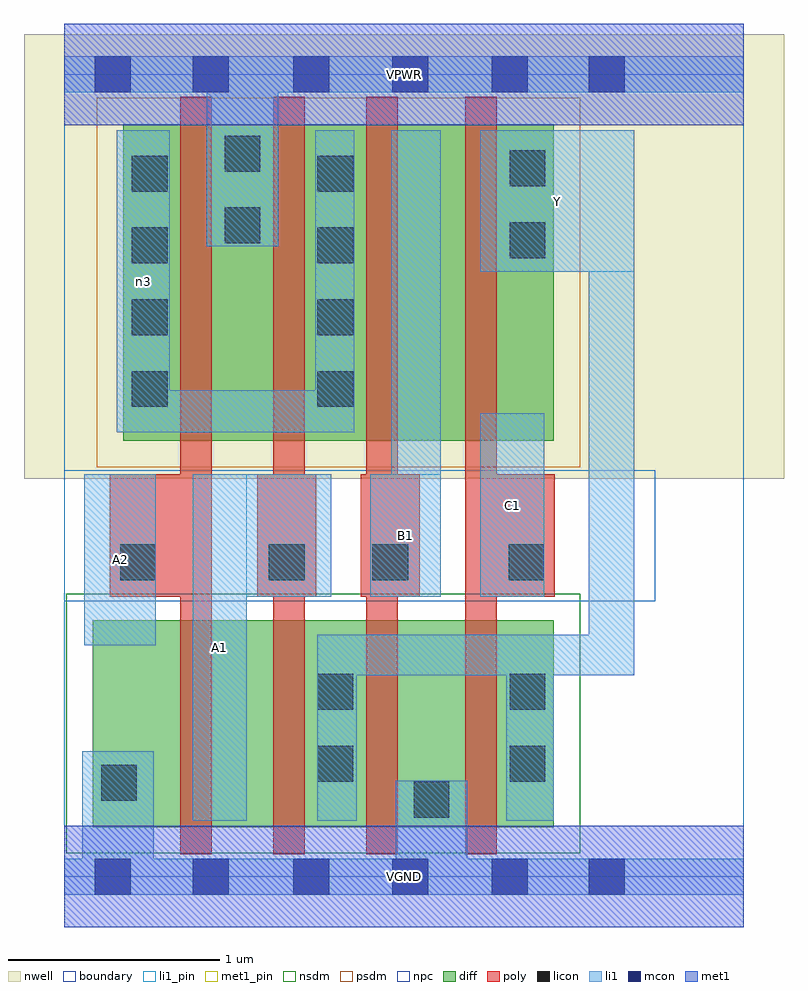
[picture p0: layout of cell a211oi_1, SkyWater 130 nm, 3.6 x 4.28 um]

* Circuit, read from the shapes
.subckt a211oi_1 A1 A2 B1 C1 VGND VPWR Y n3
XM1 n1 A2 VGND VSUBS sky130_fd_pr__nfet_01v8 w=0.98 l=0.15
XM2 Y A1 n1 VSUBS sky130_fd_pr__nfet_01v8 w=0.98 l=0.15
XM3 VGND B1 Y VSUBS sky130_fd_pr__nfet_01v8 w=0.98 l=0.15
XM4 Y C1 VGND VSUBS sky130_fd_pr__nfet_01v8 w=0.98 l=0.15
XM5 VPWR A2 n3 n2 sky130_fd_pr__pfet_01v8 w=1.5 l=0.15
XM6 n3 A1 VPWR n2 sky130_fd_pr__pfet_01v8 w=1.5 l=0.15
XM7 n4 B1 n3 n2 sky130_fd_pr__pfet_01v8 w=1.5 l=0.15
XM8 Y C1 n4 n2 sky130_fd_pr__pfet_01v8 w=1.5 l=0.15
.ends

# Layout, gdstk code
import gdstk
lib = gdstk.Library(unit=1e-6, precision=1e-09)
def R(c, l, rs):  # rectangles x0, y0, x1, y1
    for r in rs: c.add(gdstk.rectangle(r[:2], r[2:], *l))
def A(c, l, x, y, w, h, nx, ny, dx, dy):  # array of equal rectangles
    R(c, l, [(x+i*dx, y+j*dy, x+i*dx+w, y+j*dy+h) for i in range(nx) for j in range(ny)])
nwell = (64, 20)
diff = (65, 20)
poly = (66, 20)
licon = (66, 44)
li1_pin = (67, 16)
li1 = (67, 20)
mcon = (67, 44)
met1_pin = (68, 16)
met1 = (68, 20)
nsdm = (93, 44)
psdm = (94, 20)
npc = (95, 20)
boundary = (235, 4)

a211oi_1 = lib.new_cell('a211oi_1')
R(a211oi_1, nwell, [(-0.19,1.885,3.41,3.99), (0,1.885,3.22,3.99)])
R(a211oi_1, diff, [(0.135,0.235,2.32,1.215), (0.28,2.065,2.32,3.565)])
A(a211oi_1, poly, 0.55, 0.105, 0.15, 3.59, 3, 1, 0.44, 0)
R(a211oi_1, poly, [(1.9,0.105,2.05,3.695), (0.215,1.325,0.7,1.905), (0.915,1.325,1.195,1.905), (1.405,1.325,1.685,1.905), (1.9,1.325,2.325,1.905)])
A(a211oi_1, licon, 0.32, 2.225, 0.17, 0.17, 1, 4, 0, 0.34)
A(a211oi_1, licon, 1.2, 2.225, 0.17, 0.17, 1, 4, 0, 0.34)
R(a211oi_1, licon, [(1.655,0.28,1.825,0.45), (0.175,0.36,0.345,0.53), (1.2,0.45,1.37,0.62), (2.11,0.45,2.28,0.62), (1.2,0.79,1.37,0.96), (2.11,0.79,2.28,0.96), (0.265,1.405,0.435,1.575), (0.97,1.405,1.14,1.575), (1.46,1.405,1.63,1.575), (2.105,1.405,2.275,1.575), (2.11,2.93,2.28,3.1), (0.76,3,0.93,3.17), (2.11,3.27,2.28,3.44), (0.76,3.34,0.93,3.51)])
R(a211oi_1, li1_pin, [(0.61,0.265,0.865,1.905), (0.095,1.095,0.435,1.905), (1.45,1.325,1.785,1.905), (1.97,1.325,2.275,2.195), (1.97,2.865,2.7,3.535)])
R(a211oi_1, li1, [(0,-0.085,3.22,0.085), (0.085,-0.085,0.425,0.595), (1.57,-0.085,1.91,0.455), (0.61,0.265,0.865,1.905), (1.2,0.265,1.385,1.145), (2.095,0.265,2.32,1.145), (1.2,0.955,2.7,1.145), (2.485,0.955,2.7,3.535), (0.095,1.095,0.435,1.905), (0.61,1.325,1.265,1.905), (1.45,1.325,1.785,1.905), (1.55,1.325,1.785,3.535), (1.97,1.325,2.275,2.195), (0.25,2.105,0.5,3.535), (0.25,2.105,1.375,2.305), (1.19,2.105,1.375,3.535), (1.97,2.865,2.7,3.535), (0.675,2.985,1.015,3.885), (0,3.715,3.22,3.885)])
A(a211oi_1, mcon, 1.085, -0.085, 0.17, 0.17, 3, 2, 0.47, 3.8)
R(a211oi_1, mcon, [(0.145,-0.085,0.315,0.085), (0.61,-0.085,0.78,0.085), (2.485,-0.085,2.655,0.085), (0.145,3.715,0.315,3.885), (0.61,3.715,0.78,3.885), (2.485,3.715,2.655,3.885)])
R(a211oi_1, met1_pin, [(0,-0.24,3.22,0.24), (0,3.56,3.22,4.04)])
R(a211oi_1, met1, [(0,-0.24,3.22,0.24), (0,3.56,3.22,4.04)])
R(a211oi_1, nsdm, [(0.01,0.11,2.445,1.34)])
R(a211oi_1, psdm, [(0.155,1.94,2.445,3.69)])
R(a211oi_1, npc, [(0,1.305,2.8,1.925)])
R(a211oi_1, boundary, [(0,0,3.22,3.8)])
a211oi_1.add(gdstk.Label('A1', (0.737,1.085), layer=67, texttype=5))
a211oi_1.add(gdstk.Label('A2', (0.265,1.5), layer=67, texttype=5))
a211oi_1.add(gdstk.Label('B1', (1.617,1.615), layer=67, texttype=5))
a211oi_1.add(gdstk.Label('C1', (2.122,1.76), layer=67, texttype=5))
a211oi_1.add(gdstk.Label('Y', (2.335,3.2), layer=67, texttype=5))
a211oi_1.add(gdstk.Label('n3', (0.375,2.82), layer=67, texttype=5))
a211oi_1.add(gdstk.Label('VPWR', (1.61,3.8), layer=68, texttype=5))
a211oi_1.add(gdstk.Label('VGND', (1.61,0), layer=68, texttype=5))
a211oi_1.add(gdstk.Label('A1', (0.737,1.085), layer=67, texttype=16))
a211oi_1.add(gdstk.Label('A2', (0.265,1.5), layer=67, texttype=16))
a211oi_1.add(gdstk.Label('B1', (1.617,1.615), layer=67, texttype=16))
a211oi_1.add(gdstk.Label('C1', (2.122,1.76), layer=67, texttype=16))
a211oi_1.add(gdstk.Label('Y', (2.335,3.2), layer=67, texttype=16))
a211oi_1.add(gdstk.Label('VPWR', (1.61,3.8), layer=68, texttype=16))
a211oi_1.add(gdstk.Label('VGND', (1.61,0), layer=68, texttype=16))

lib.write_gds('a211oi_1.gds')
